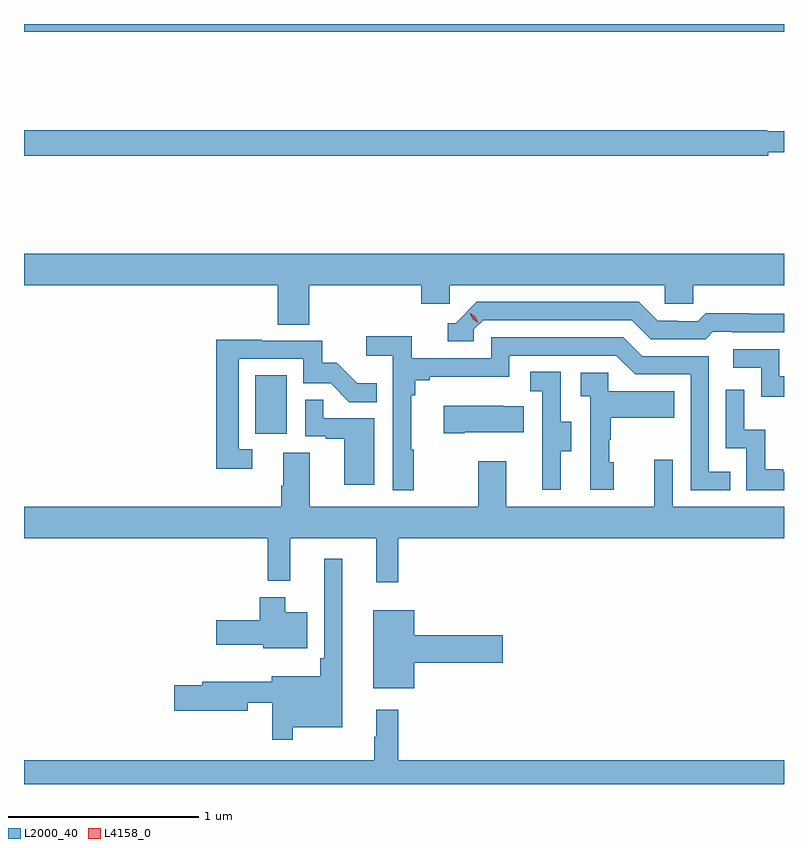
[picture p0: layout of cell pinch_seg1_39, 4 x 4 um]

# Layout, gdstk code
import gdstk
lib = gdstk.Library(unit=1e-6, precision=1e-09)
def R(c, l, rs):  # rectangles x0, y0, x1, y1
    for r in rs: c.add(gdstk.rectangle(r[:2], r[2:], *l))
def P(c, l, *ps):  # polygons
    for p in ps: c.add(gdstk.Polygon(p, *l))
L2000_40 = (2000, 40)
L4158_0 = (4158, 0)

pinch_seg1_39 = lib.new_cell('pinch_seg1_39')
R(pinch_seg1_39, L2000_40, [(1097.276,569.598,1097.44,569.905), (1096.058,571.712,1100.058,571.754)])
P(pinch_seg1_39, L2000_40, [(1099.976,571.079),(1100.058,571.079),(1100.058,571.189),(1099.969,571.189),(1099.969,571.196),(1096.058,571.196),(1096.058,571.06),(1099.976,571.06)],
  [(1096.058,570.38),(1097.393,570.38),(1097.393,570.172),(1097.558,570.172),(1097.558,570.38),(1098.149,570.38),(1098.149,570.282),(1098.3,570.282),(1098.3,570.38),(1099.431,570.38),(1099.431,570.282),(1099.581,570.282),(1099.581,570.38),(1100.058,570.38),(1100.058,570.544),(1096.058,570.544)],
  [(1098.426,570.147),(1098.474,570.195),(1099.257,570.195),(1099.356,570.096),(1099.645,570.096),(1099.684,570.135),(1099.783,570.135),(1099.783,570.132),(1100.058,570.132),(1100.058,570.229),(1099.878,570.229),(1099.878,570.232),(1099.645,570.232),(1099.603,570.189),(1099.5,570.189),(1099.5,570.192),(1099.393,570.192),(1099.294,570.291),(1098.441,570.291),(1098.33,570.18),(1098.287,570.18),(1098.287,570.084),(1098.426,570.084)],
  [(1098.109,569.513),(1098.097,569.513),(1098.097,569.801),(1098.116,569.801),(1098.116,569.878),(1098.193,569.878),(1098.193,569.897),(1098.612,569.897),(1098.612,570.009),(1099.176,570.009),(1099.275,569.91),(1099.566,569.91),(1099.566,569.301),(1099.775,569.301),(1099.775,569.397),(1099.662,569.397),(1099.662,570.006),(1099.312,570.006),(1099.213,570.105),(1098.516,570.105),(1098.516,569.994),(1098.098,569.994),(1098.098,570.11),(1097.859,570.11),(1097.859,570.008),(1098,570.008),(1098,569.301),(1098.109,569.301)],
  [(1097.26,569.517),(1097.187,569.517),(1097.187,569.991),(1097.529,569.991),(1097.529,569.862),(1097.673,569.862),(1097.771,569.764),(1097.915,569.764),(1097.915,569.863),(1097.811,569.863),(1097.704,569.97),(1097.628,569.97),(1097.628,570.087),(1097.309,570.087),(1097.309,570.092),(1097.071,570.092),(1097.071,569.412),(1097.26,569.412)],
  [(1100.058,569.901),(1100.034,569.901),(1100.034,570.042),(1099.791,570.042),(1099.791,569.946),(1099.938,569.946),(1099.938,569.793),(1100.058,569.793)],
  [(1098.883,569.506),(1098.937,569.506),(1098.937,569.661),(1098.882,569.661),(1098.882,569.924),(1098.723,569.924),(1098.723,569.821),(1098.786,569.821),(1098.786,569.517),(1098.785,569.517),(1098.785,569.304),(1098.883,569.304)],
  [(1099.162,569.448),(1099.137,569.448),(1099.137,569.567),(1099.147,569.567),(1099.147,569.681),(1099.481,569.681),(1099.481,569.821),(1099.134,569.821),(1099.134,569.919),(1098.987,569.919),(1098.987,569.795),(1099.038,569.795),(1099.038,569.304),(1099.162,569.304)],
  [(1100.058,569.397),(1100.053,569.397),(1100.053,569.41),(1099.958,569.41),(1099.958,569.618),(1099.848,569.618),(1099.848,569.83),(1099.752,569.83),(1099.752,569.52),(1099.86,569.52),(1099.86,569.301),(1100.058,569.301)],
  [(1097.902,569.679),(1097.633,569.679),(1097.633,569.777),(1097.538,569.777),(1097.538,569.583),(1097.645,569.583),(1097.645,569.571),(1097.744,569.571),(1097.744,569.328),(1097.902,569.328)],
  [(1098.379,569.606),(1098.689,569.606),(1098.689,569.743),(1098.581,569.743),(1098.581,569.746),(1098.267,569.746),(1098.267,569.599),(1098.379,569.599)],
  [(1096.058,569.048),(1097.341,569.048),(1097.341,568.823),(1097.459,568.823),(1097.459,569.048),(1097.912,569.048),(1097.912,568.815),(1098.029,568.815),(1098.029,569.048),(1100.058,569.048),(1100.058,569.212),(1099.473,569.212),(1099.473,569.461),(1099.376,569.461),(1099.376,569.212),(1098.595,569.212),(1098.595,569.452),(1098.448,569.452),(1098.448,569.212),(1097.563,569.212),(1097.563,569.498),(1097.423,569.498),(1097.423,569.324),(1097.411,569.324),(1097.411,569.212),(1096.058,569.212)],
  [(1097.473,568.052),(1097.734,568.052),(1097.734,568.939),(1097.637,568.939),(1097.637,568.417),(1097.617,568.417),(1097.617,568.321),(1097.363,568.321),(1097.363,568.292),(1096.997,568.292),(1096.997,568.274),(1096.848,568.274),(1096.848,568.139),(1097.236,568.139),(1097.236,568.182),(1097.364,568.182),(1097.364,567.987),(1097.473,567.987)],
  [(1097.548,568.657),(1097.434,568.657),(1097.434,568.738),(1097.3,568.738),(1097.3,568.617),(1097.07,568.617),(1097.07,568.487),(1097.316,568.487),(1097.316,568.469),(1097.548,568.469)],
  [(1098.112,568.391),(1098.577,568.391),(1098.577,568.538),(1098.112,568.538),(1098.112,568.669),(1097.897,568.669),(1097.897,568.259),(1098.112,568.259)],
  [(1100.058,567.88),(1098.029,567.88),(1098.029,568.144),(1097.912,568.144),(1097.912,568.004),(1097.901,568.004),(1097.901,567.88),(1096.058,567.88),(1096.058,567.754),(1100.058,567.754)])
P(pinch_seg1_39, L4158_0, [(1098.45,570.181),(1098.419,570.2),(1098.403,570.233),(1098.403,570.233),(1098.403,570.233),(1098.434,570.214),(1098.45,570.181),(1098.45,570.181)])

lib.write_gds('pinch_seg1_39.gds')
